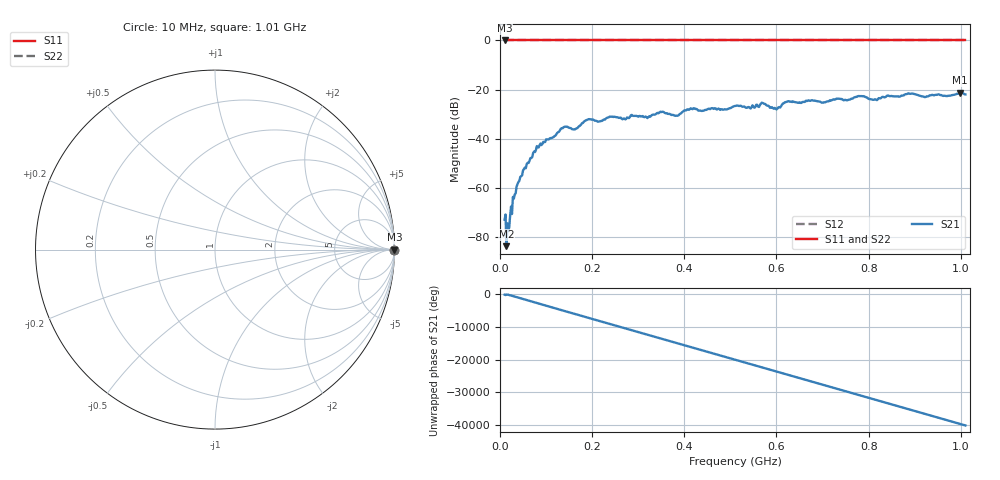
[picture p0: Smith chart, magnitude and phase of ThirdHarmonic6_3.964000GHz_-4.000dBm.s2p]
! 8/17/2025 2:04:51 PM
! C:\ANRITSUVNA\TEMP\TEMP.S2P
! CHANNEL.1
! TR.MEASUREMENT
! RAW.DATA
! RF.CORRECTION.OFF
! AVERAGING.OFF
! IF.BANDWIDTH: 5KHZ
! SWEEPTYPE:  FREQ.SWEEP(Linear)
! Reference Plane Port Info
! PORT:  PORT1  PORT2
! DISTANCE:  0  m  0  m
! TIME:  0  s  0  s
! PHASE.OFFSET:  0  deg.  0  deg.
! LOSS:  0  dB  0  dB
! REF.LOSS:  0  dB  0  dB
! REF.FREQ:  0  Hz  0  Hz
! Power Info
! POWER:  -20  dBm  -20  dBm
! EFF.POWER:  -20  dBm  -20  dBm
! SOURCE.ATTEN:  0  dB  0  dB
! TEST.ATTEN:  0  dB  0  dB
# GHZ S RI R 50.0
! FREQ.GHZ  S11RE  S11IM  S21RE  S21IM  S12RE  S12IM  S22RE  S22IM
!; PortSelection: Port_12
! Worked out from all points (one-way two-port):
!   501 points, 10 MHz to 1.01 GHz, reference 50 ohm
!   highest |S21| = -21.30 dB at 998 MHz (marker M1); lowest = -83.8 dB at 14 MHz (marker M2)
!   lowest |S11| = 0.0 dB at 10 MHz (marker M3)
!   |S11| at or under -10 dB: nowhere
!   |S22| runs from 0.0 to 0.0 dB; largest |S21 - S12| = 1.1
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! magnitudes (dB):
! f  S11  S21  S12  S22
! 10 MHz  0.0  -73.0  0.0  0.0
! 14 MHz  0.0  -83.8  0.0  0.0
! 18 MHz  0.0  -77.6  0.0  0.0
! 32 MHz  0.0  -62.7  0.0  0.0
! 40 MHz  0.0  -57.6  0.0  0.0
! 76 MHz  0.0  -45.4  0.0  0.0
! 136 MHz  0.0  -35.7  0.0  0.0
! 162 MHz  0.0  -36.3  0.0  0.0
! 178 MHz  0.0  -33.7  0.0  0.0
! 192 MHz  0.0  -32.1  0.0  0.0
! 322 MHz  0.0  -31.3  0.0  0.0
! 344 MHz  0.0  -29.6  0.0  0.0
! 384 MHz  0.0  -30.7  0.0  0.0
! 418 MHz  0.0  -28.0  0.0  0.0
! 510 MHz  0.0  -26.7  0.0  0.0
! 570 MHz  0.0  -25.5  0.0  0.0
! 598 MHz  0.0  -27.7  0.0  0.0
! 624 MHz  0.0  -24.9  0.0  0.0
! 678 MHz  0.0  -24.3  0.0  0.0
! 844 MHz  0.0  -22.6  0.0  0.0
! 998 MHz  0.0  -21.3  0.0  0.0
! 1.01 GHz  0.0  -22.0  0.0  0.0
